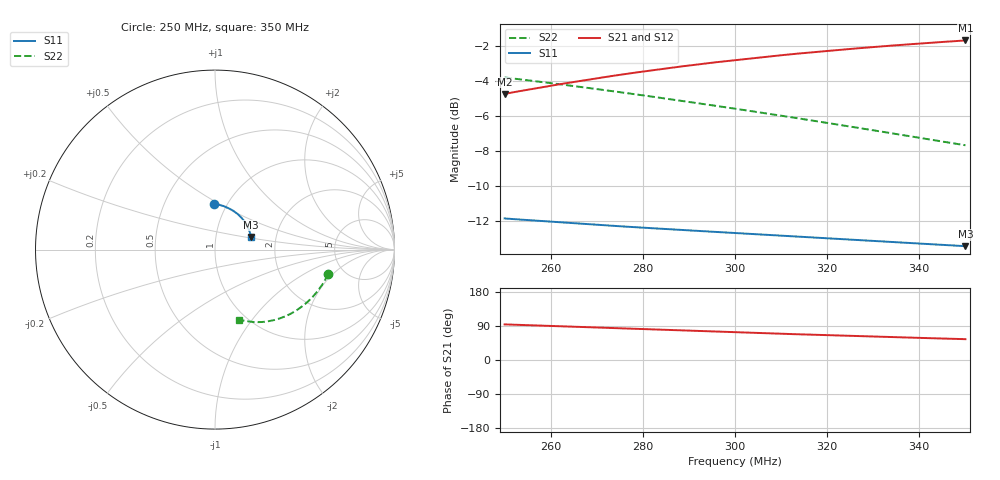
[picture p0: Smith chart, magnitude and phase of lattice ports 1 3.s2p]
#  HZ  S  DB  R  50.00
! Rohde & Schwarz Vector Network Analyzer
! Rohde-Schwarz,ZNL3-2Port,1323001203101687,1.37.1.9-20.11.2.22
! Created: UTC 11/14/2023, 3:56:15 PM
! freq[Hz]  db:S11  ang:S11  db:S21  ang:S21  db:S12  ang:S12  db:S22  ang:S22
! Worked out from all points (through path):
!   801 points, 250 MHz to 350 MHz, reference 50 ohm
!   highest |S21| = -1.69 dB at 350 MHz (marker M1); lowest = -4.7 dB at 250 MHz (marker M2)
!   lowest |S11| = -13.5 dB at 350 MHz (marker M3), VSWR 1.54, Z = 74 + j11 ohm
!   |S11| at or under -10 dB: start of sweep to end of sweep
!   |S22| runs from -7.7 to -3.8 dB; largest |S21 - S12| = 0.004
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2.5e8  -11.88 91.3  -4.75 94.0  -4.75 93.6  -3.81 -12.3
2.505e8  -11.89 90.8  -4.72 93.8  -4.73 93.4  -3.83 -12.8
2.53375e8  -11.94 88.4  -4.59 92.5  -4.59 92.1  -3.92 -15.2
2.5875e8  -12.04 83.8  -4.34 90.2  -4.34 89.8  -4.09 -19.5
2.62625e8  -12.11 80.5  -4.17 88.5  -4.17 88.2  -4.22 -22.5
2.6675e8  -12.18 77.1  -3.99 86.8  -3.99 86.5  -4.36 -25.6
2.70875e8  -12.25 73.7  -3.82 85.1  -3.82 84.7  -4.50 -28.6
2.7475e8  -12.32 70.7  -3.67 83.4  -3.67 83.1  -4.64 -31.3
2.79125e8  -12.39 67.2  -3.50 81.6  -3.50 81.3  -4.80 -34.3
2.83375e8  -12.46 64.0  -3.35 79.9  -3.35 79.6  -4.96 -37.0
2.87625e8  -12.52 60.8  -3.20 78.1  -3.20 77.8  -5.12 -39.7
2.915e8  -12.58 57.9  -3.08 76.6  -3.08 76.3  -5.26 -42.1
2.9575e8  -12.65 54.8  -2.94 74.9  -2.94 74.6  -5.43 -44.6
3e8  -12.71 51.7  -2.81 73.2  -2.81 72.9  -5.60 -47.1
3.0425e8  -12.78 48.7  -2.69 71.5  -2.69 71.3  -5.76 -49.5
3.08125e8  -12.83 46.0  -2.59 70.0  -2.58 69.8  -5.92 -51.6
3.1225e8  -12.89 43.1  -2.48 68.4  -2.47 68.2  -6.09 -53.7
3.1675e8  -12.96 40.1  -2.37 66.7  -2.36 66.5  -6.27 -56.0
3.24625e8  -13.08 34.9  -2.18 63.8  -2.18 63.6  -6.60 -59.8
3.33375e8  -13.21 29.3  -2.00 60.7  -1.99 60.5  -6.98 -63.8
3.42e8  -13.34 24.1  -1.83 57.7  -1.82 57.5  -7.35 -67.6
3.5e8  -13.46 19.5  -1.69 55.0  -1.68 54.8  -7.69 -70.8
